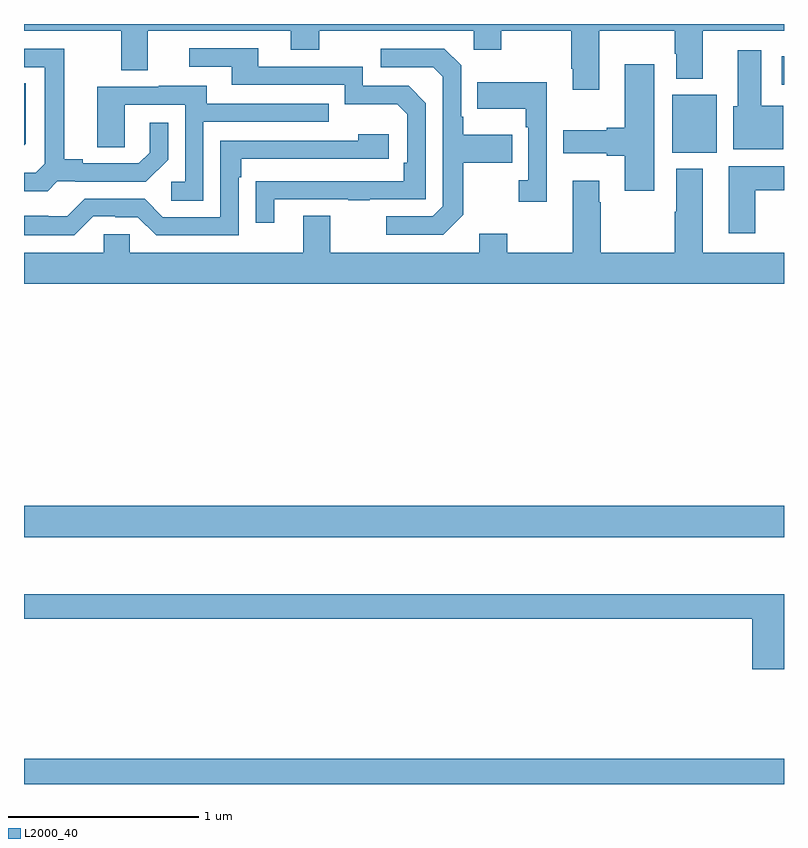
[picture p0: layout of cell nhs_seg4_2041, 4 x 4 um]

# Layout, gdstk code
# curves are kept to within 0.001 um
import gdstk
lib = gdstk.Library(unit=1e-6, precision=1e-09)
def R(c, l, rs):  # rectangles x0, y0, x1, y1
    for r in rs: c.add(gdstk.rectangle(r[:2], r[2:], *l))
def P(c, l, *ps):  # polygons
    for p in ps: c.add(gdstk.Polygon(p, *l))
L2000_40 = (2000, 40)

nhs_seg4_2041 = lib.new_cell('nhs_seg4_2041')
R(nhs_seg4_2041, L2000_40, [(217,748.9,221,749.032), (217,750.2,221,750.364), (220.412,752.222,220.645,752.527), (220.989,752.579,221,752.731)])
P(nhs_seg4_2041, L2000_40, [(217,752.864),(217.511,752.864),(217.511,752.656),(217.651,752.656),(217.651,752.864),(218.405,752.864),(218.405,752.765),(218.553,752.765),(218.553,752.864),(219.366,752.864),(219.366,752.765),(219.513,752.765),(219.513,752.864),(219.88,752.864),(219.88,752.665),(219.887,752.665),(219.887,752.553),(220.027,752.553),(220.027,752.864),(220.426,752.864),(220.426,752.744),(220.433,752.744),(220.433,752.612),(220.573,752.612),(220.573,752.864),(221,752.864),(221,752.9),(217,752.9)],
  [(218.317,751.977),(218.707,751.977),(218.707,751.972),(218.819,751.972),(218.819,751.977),(219.114,751.977),(219.114,752.484),(219.024,752.574),(218.784,752.574),(218.784,752.676),(218.233,752.676),(218.233,752.772),(217.869,752.772),(217.869,752.676),(218.093,752.676),(218.093,752.58),(218.688,752.58),(218.688,752.477),(218.965,752.477),(219.018,752.424),(219.018,752.17),(218.998,752.17),(218.998,752.073),(218.221,752.072),(218.221,751.854),(218.317,751.854)],
  [(219.313,751.897),(219.313,752.17),(219.569,752.17),(219.569,752.317),(219.313,752.317),(219.313,752.413),(219.3,752.413),(219.3,752.682),(219.213,752.769),(218.877,752.769),(218.877,752.673),(219.153,752.673),(219.204,752.622),(219.204,751.941),(219.15,751.887),(218.907,751.887),(218.907,751.791),(219.207,751.791)],
  [(217.176,752.073),(217.27,752.073),(217.27,752.07),(217.642,752.07),(217.758,752.186),(217.758,752.38),(217.661,752.38),(217.661,752.223),(217.604,752.166),(217.309,752.166),(217.309,752.189),(217.213,752.189),(217.213,752.769),(217,752.769),(217,752.673),(217.109,752.673),(217.109,752.165),(217.062,752.118),(217,752.118),(217,752.021),(217.124,752.021)],
  [(220.996,752.47),(220.879,752.47),(220.879,752.761),(220.757,752.761),(220.757,752.466),(220.733,752.466),(220.733,752.24),(220.996,752.24)],
  [(220.318,752.689),(220.163,752.689),(220.163,752.354),(220.067,752.354),(220.067,752.341),(219.837,752.341),(219.837,752.219),(220.067,752.219),(220.067,752.207),(220.163,752.207),(220.163,752.022),(220.318,752.022)],
  [(219.75,752.593),(219.385,752.593),(219.385,752.453),(219.642,752.453),(219.642,752.357),(219.654,752.357),(219.654,752.078),(219.603,752.078),(219.603,751.965),(219.75,751.965)],
  [(217.008,752.27),(217.008,752.588),(217,752.588),(217,752.262)],
  [(217.944,752.385),(218.603,752.385),(218.603,752.481),(217.963,752.481),(217.963,752.575),(217.709,752.575),(217.709,752.571),(217.385,752.571),(217.385,752.251),(217.53,752.251),(217.53,752.475),(217.848,752.475),(217.848,752.07),(217.776,752.07),(217.776,751.969),(217.944,751.969)],
  [(217.365,751.887),(217.481,751.887),(217.481,751.884),(217.599,751.884),(217.695,751.788),(218.13,751.788),(218.13,752.093),(218.143,752.093),(218.143,752.19),(218.92,752.19),(218.92,752.32),(218.759,752.32),(218.759,752.286),(218.034,752.286),(218.034,751.884),(217.731,751.884),(217.635,751.98),(217.32,751.98),(217.227,751.887),(217.127,751.887),(217.127,751.891),(217,751.891),(217,751.787),(217.265,751.787)],
  [(220.849,752.024),(221,752.024),(221,752.152),(220.709,752.152),(220.709,751.8),(220.849,751.8)],
  [(221,751.696),(220.573,751.696),(220.573,752.137),(220.433,752.137),(220.433,751.911),(220.426,751.911),(220.426,751.696),(220.035,751.696),(220.035,751.961),(220.027,751.961),(220.027,752.074),(219.887,752.074),(219.887,751.696),(219.543,751.696),(219.543,751.795),(219.395,751.795),(219.395,751.696),(218.611,751.696),(218.611,751.891),(218.471,751.891),(218.471,751.696),(217.557,751.696),(217.557,751.794),(217.419,751.794),(217.419,751.696),(217,751.696),(217,751.532),(221,751.532)],
  [(221,749.899),(217,749.899),(217,749.77),(220.832,749.77),(220.832,749.505),(221,749.505)])

lib.write_gds('nhs_seg4_2041.gds')
